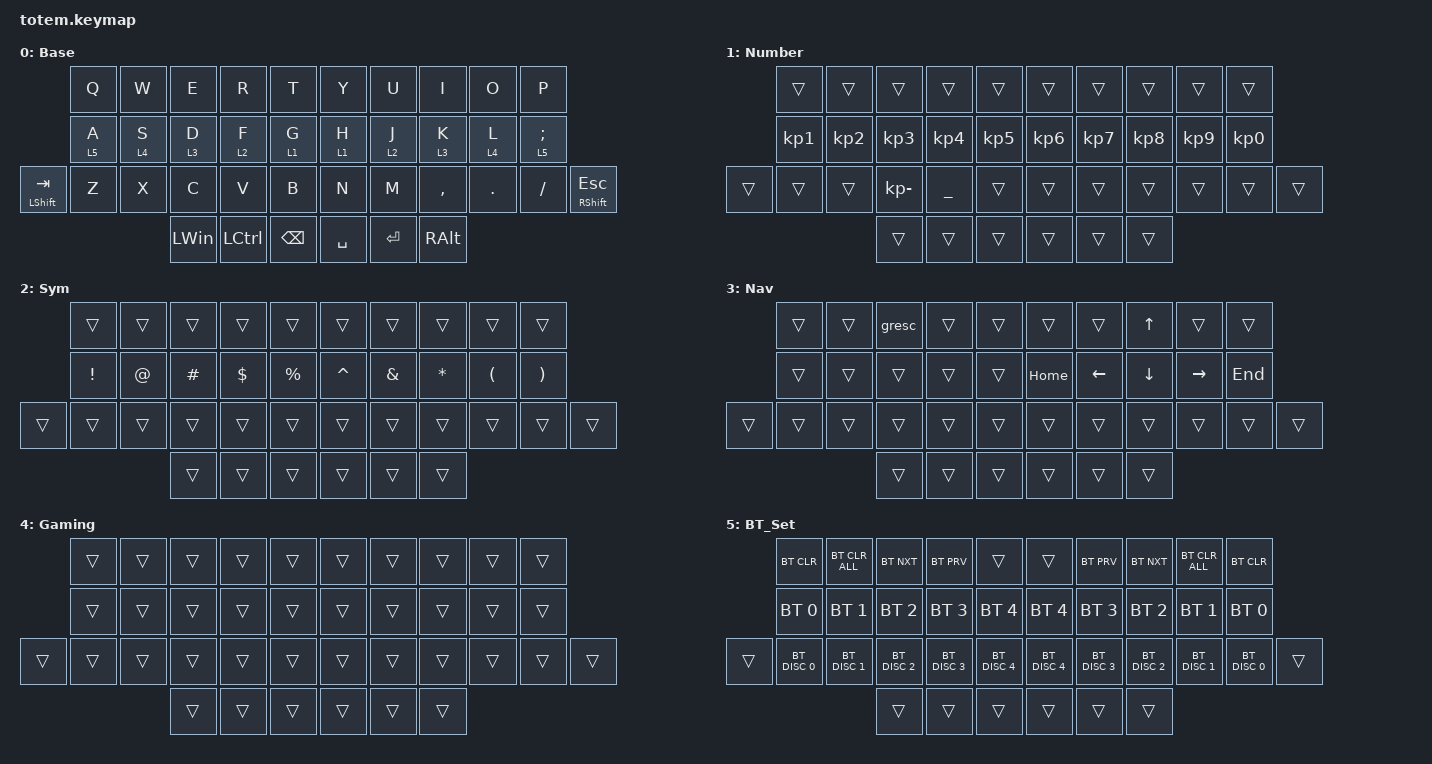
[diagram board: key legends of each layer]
//
//                                                        ▀▀▀▀▀     ▀▀▀▀▀          ▀▀█▀▀
//                                                        ▄▀▀▀▄  ▄  ▄▀▀▀▄  ▄  ▄▀▀▀▄  █  ▄▀▀▀▄
//                                                        █   █  █  █   █  █  █   █  █  █   █
//                                                         ▀▀▀   █   ▀▀▀   █   ▀▀▀   ▀   ▀▀▀
//                                                               █      ▄▄▄█▄▄▄    █   █  
//                                                               ▀      █  █  █     █▄█
//                                                             ▀▀▀▀▀    █  █  █      ▀
//                                                                      ▀  ▀  ▀
//
// ▄▄▄▄▄▄▄▄▄▄▄▄▄▄▄▄▄▄▄▄▄▄▄▄▄▄▄▄▄▄▄▄▄▄▄▄▄▄▄▄▄▄▄▄▄▄▄▄▄▄▄▄▄▄▄▄▄▄▄▄▄▄▄▄▄▄▄▄▄▄▄▄▄▄▄▄▄▄▄▄▄▄▄▄▄▄▄▄▄▄▄▄▄▄▄▄▄▄▄▄▄▄▄▄▄▄▄▄▄▄▄▄▄▄▄▄▄▄▄▄▄▄▄▄▄▄▄▄▄▄▄▄▄▄▄▄▄▄▄▄▄▄▄▄▄▄▄▄▄

#include <behaviors.dtsi>
#include <dt-bindings/zmk/bt.h>
#include <dt-bindings/zmk/keys.h>

#define Base        0
#define Media       1
#define Nav         2
#define Mouse       3
#define Sym         4
#define Num         5
#define Fun         6
#define Button      7
#define Game        8
#define Gameplus    9

&mt {
    quick-tap-ms = <100>;
    global-quick-tap;
    flavor = "tap-preferred";
    tapping-term-ms = <170>;
};

&lt {
    tapping-term-ms = <240>;
    flavor = "balanced";
    quick-tap-ms = <150>;
};

/ {
    behaviors {
        hm: homerow_mods {
            compatible = "zmk,behavior-hold-tap";
            label = "HOMEROW_MODS";
            #binding-cells = <2>;
            flavor = "tap-preferred";
            tapping-term-ms = <200>;
            quick-tap-ms = <125>;
            global-quick-tap;
            bindings = <&kp>, <&kp>;
        };
    };

    combos { compatible = "zmk,combos"; };

    keymap {
        compatible = "zmk,keymap";

        Base {
            label = "Base";
            bindings = <
                    &kp Q    &kp W    &kp E         &kp R             &kp T            &kp Y      &kp U       &kp I          &kp O    &kp P
                    &lt 5 A  &lt 4 S  &lt 3 D       &lt 2 F           &lt 1 G          &lt 1 H    &lt 2 J     &lt 3 K        &lt 4 L  &lt 5 SEMICOLON
&hm LEFT_SHIFT TAB  &kp Z    &kp X    &kp C         &kp V             &kp B            &kp N      &kp M       &kp COMMA      &kp DOT  &kp SLASH        &hm RIGHT_SHIFT ESCAPE
                                      &kp LEFT_WIN  &kp LEFT_CONTROL  &kp BACKSPACE    &kp SPACE  &kp RETURN  &kp RIGHT_ALT
            >;
        };

        Number {
            label = "Number";
            bindings = <
        &trans           &trans           &trans           &trans           &trans             &trans           &trans           &trans           &trans           &trans
        &kp KP_NUMBER_1  &kp KP_NUMBER_2  &kp KP_NUMBER_3  &kp KP_NUMBER_4  &kp KP_NUMBER_5    &kp KP_NUMBER_6  &kp KP_NUMBER_7  &kp KP_NUMBER_8  &kp KP_NUMBER_9  &kp KP_NUMBER_0
&trans  &trans           &trans           &kp KP_MINUS     &kp UNDER        &trans             &trans           &trans           &trans           &trans           &trans           &trans
                                          &trans           &trans           &trans             &trans           &trans           &trans
            >;
        };

        Sym {
            label = "Sym";
            bindings = <
        &trans           &trans       &trans    &trans      &trans         &trans     &trans         &trans        &trans                &trans
        &kp EXCLAMATION  &kp AT_SIGN  &kp HASH  &kp DOLLAR  &kp PERCENT    &kp CARET  &kp AMPERSAND  &kp ASTERISK  &kp LEFT_PARENTHESIS  &kp RIGHT_PARENTHESIS
&trans  &trans           &trans       &trans    &trans      &trans         &trans     &trans         &trans        &trans                &trans                 &trans
                                      &trans    &trans      &trans         &trans     &trans         &trans
            >;
        };

        Nav {
            label = "Nav";
            bindings = <
        &trans  &trans  &gresc  &trans  &trans    &trans    &trans    &kp UP_ARROW  &trans     &trans
        &trans  &trans  &trans  &trans  &trans    &kp HOME  &kp LEFT  &kp DOWN      &kp RIGHT  &kp END
&trans  &trans  &trans  &trans  &trans  &trans    &trans    &trans    &trans        &trans     &trans   &trans
                        &trans  &trans  &trans    &trans    &trans    &trans
            >;
        };

        Gaming {
            bindings = <
        &trans  &trans  &trans  &trans  &trans    &trans  &trans  &trans  &trans  &trans
        &trans  &trans  &trans  &trans  &trans    &trans  &trans  &trans  &trans  &trans
&trans  &trans  &trans  &trans  &trans  &trans    &trans  &trans  &trans  &trans  &trans  &trans
                        &trans  &trans  &trans    &trans  &trans  &trans
            >;

            label = "Gaming";
        };

        BT_Set {
            bindings = <
        &bt BT_CLR     &bt BT_CLR_ALL  &bt BT_NXT     &bt BT_PRV     &trans           &trans         &bt BT_PRV     &bt BT_NXT     &bt BT_CLR_ALL  &bt BT_CLR
        &bt BT_SEL 0   &bt BT_SEL 1    &bt BT_SEL 2   &bt BT_SEL 3   &bt BT_SEL 4     &bt BT_SEL 4   &bt BT_SEL 3   &bt BT_SEL 2   &bt BT_SEL 1    &bt BT_SEL 0
&trans  &bt BT_DISC 0  &bt BT_DISC 1   &bt BT_DISC 2  &bt BT_DISC 3  &bt BT_DISC 4    &bt BT_DISC 4  &bt BT_DISC 3  &bt BT_DISC 2  &bt BT_DISC 1   &bt BT_DISC 0  &trans
                                       &trans         &trans         &trans           &trans         &trans         &trans
            >;

            label = "BT_Set";
        };
    };
};
